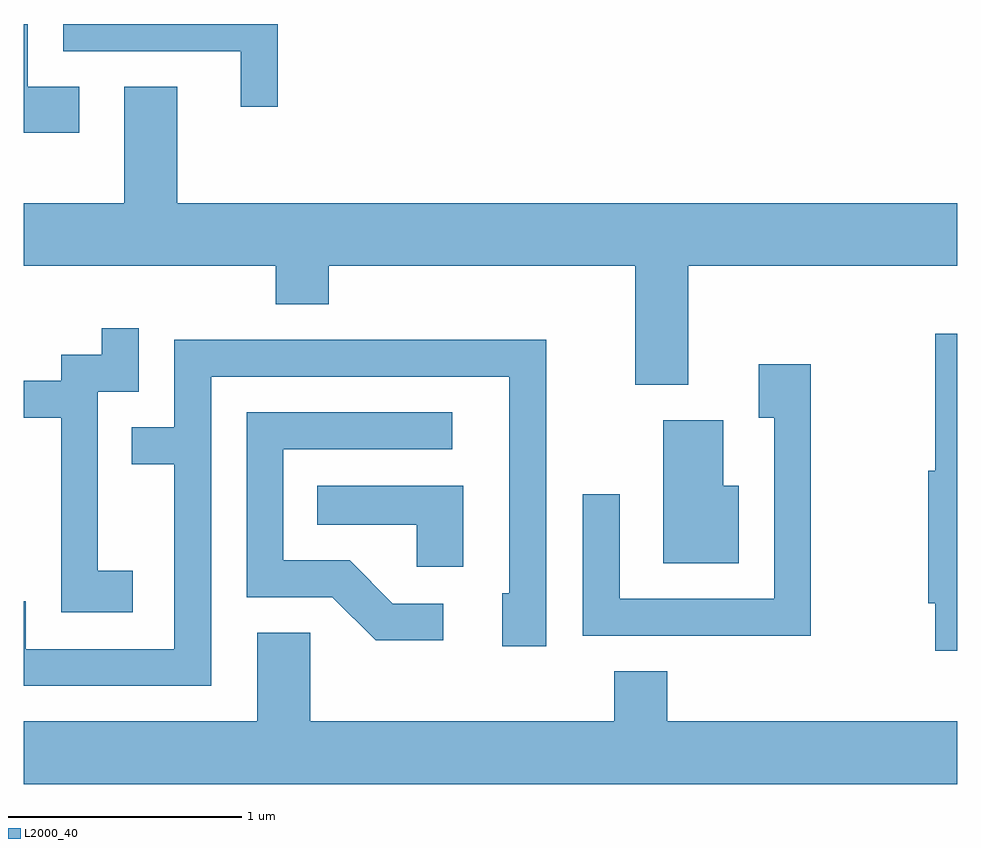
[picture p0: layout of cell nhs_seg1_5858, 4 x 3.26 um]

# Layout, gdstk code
import gdstk
lib = gdstk.Library(unit=1e-6, precision=1e-09)
def P(c, l, *ps):  # polygons
    for p in ps: c.add(gdstk.Polygon(p, *l))
L2000_40 = (2000, 40)

nhs_seg1_5858 = lib.new_cell('nhs_seg1_5858')
P(nhs_seg1_5858, L2000_40, [(362.699,911.712),(361.781,911.712),(361.781,911.596),(362.541,911.596),(362.541,911.358),(362.699,911.358)],
  [(361.849,911.444),(361.629,911.444),(361.629,911.712),(361.611,911.712),(361.611,911.246),(361.849,911.246)],
  [(364.459,910.676),(365.611,910.676),(365.611,910.944),(362.269,910.944),(362.269,911.444),(362.041,911.444),(362.041,910.944),(361.611,910.944),(361.611,910.676),(362.691,910.676),(362.691,910.511),(362.919,910.511),(362.919,910.676),(364.231,910.676),(364.231,910.166),(364.459,910.166)],
  [(362.079,909.369),(361.929,909.369),(361.929,910.136),(362.104,910.136),(362.104,910.408),(361.946,910.408),(361.946,910.294),(361.771,910.294),(361.771,910.184),(361.611,910.184),(361.611,910.026),(361.771,910.026),(361.771,909.191),(362.079,909.191)],
  [(365.611,910.384),(365.516,910.384),(365.516,909.799),(365.486,909.799),(365.486,909.231),(365.516,909.231),(365.516,909.026),(365.611,909.026)],
  [(362.414,910.201),(363.691,910.201),(363.691,909.274),(363.661,909.274),(363.661,909.046),(363.849,909.046),(363.849,910.359),(362.256,910.359),(362.256,909.984),(362.073,909.984),(362.073,909.826),(362.256,909.826),(362.256,909.034),(361.619,909.034),(361.619,909.239),(361.611,909.239),(361.611,908.876),(362.414,908.876)],
  [(364.984,910.254),(364.761,910.254),(364.761,910.026),(364.826,910.026),(364.826,909.249),(364.164,909.249),(364.164,909.698),(364.006,909.698),(364.006,909.091),(364.984,909.091)],
  [(363.408,909.229),(363.192,909.229),(363.007,909.414),(362.724,909.414),(362.724,909.891),(363.448,909.891),(363.448,910.049),(362.566,910.049),(362.566,909.256),(362.934,909.256),(363.119,909.071),(363.408,909.071)],
  [(364.674,909.734),(364.609,909.734),(364.609,910.014),(364.351,910.014),(364.351,909.401),(364.674,909.401)],
  [(363.494,909.734),(362.868,909.734),(362.868,909.566),(363.296,909.566),(363.296,909.386),(363.494,909.386)],
  [(365.611,908.724),(364.369,908.724),(364.369,908.939),(364.141,908.939),(364.141,908.724),(362.839,908.724),(362.839,909.104),(362.611,909.104),(362.611,908.724),(361.611,908.724),(361.611,908.456),(365.611,908.456)])

lib.write_gds('nhs_seg1_5858.gds')
